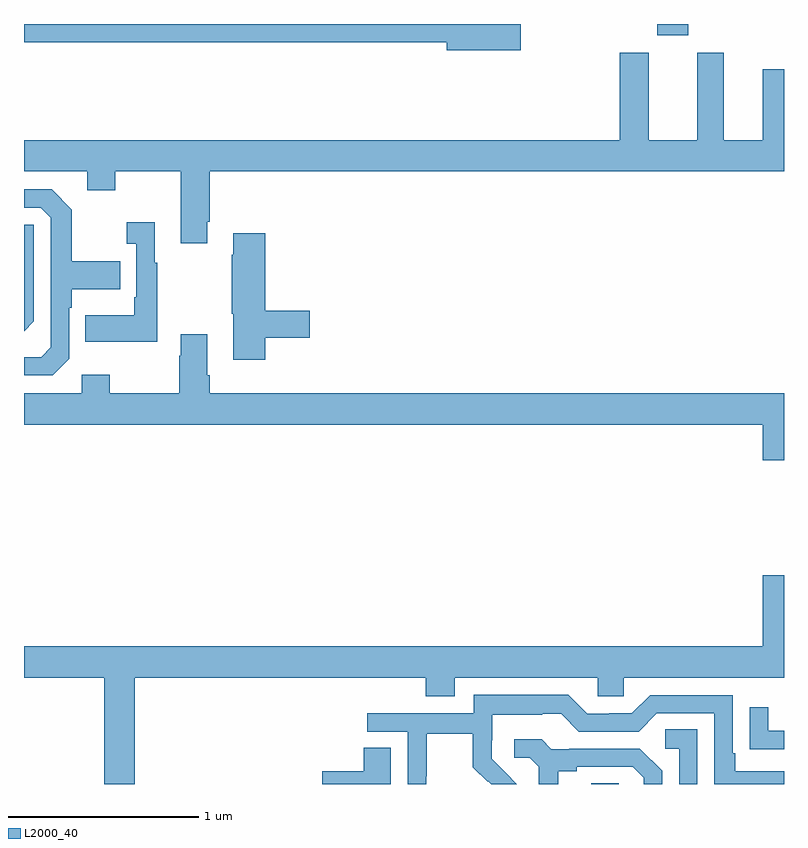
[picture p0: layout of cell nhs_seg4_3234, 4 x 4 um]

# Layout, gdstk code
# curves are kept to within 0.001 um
import gdstk
lib = gdstk.Library(unit=1e-6, precision=1e-09)
def R(c, l, rs):  # rectangles x0, y0, x1, y1
    for r in rs: c.add(gdstk.rectangle(r[:2], r[2:], *l))
def P(c, l, *ps):  # polygons
    for p in ps: c.add(gdstk.Polygon(p, *l))
L2000_40 = (2000, 40)

nhs_seg4_3234 = lib.new_cell('nhs_seg4_3234')
R(nhs_seg4_3234, L2000_40, [(283.985,822.9,284.13,822.905), (284.333,826.842,284.497,826.9)])
P(nhs_seg4_3234, L2000_40, [(283.615,826.9),(281,826.9),(281,826.804),(283.226,826.804),(283.226,826.762),(283.615,826.762)],
  [(281.965,825.859),(281.978,825.859),(281.978,826.124),(285,826.124),(285,826.663),(284.888,826.663),(284.888,826.288),(284.683,826.288),(284.683,826.75),(284.543,826.75),(284.543,826.288),(284.287,826.288),(284.287,826.75),(284.135,826.75),(284.135,826.288),(281,826.288),(281,826.124),(281.333,826.124),(281.333,826.025),(281.481,826.025),(281.481,826.124),(281.825,826.124),(281.825,825.747),(281.965,825.747)],
  [(281.238,825.138),(281.238,825.407),(281.251,825.407),(281.251,825.503),(281.507,825.503),(281.507,825.651),(281.251,825.651),(281.251,825.923),(281.145,826.029),(281,826.029),(281,825.933),(281.088,825.933),(281.142,825.879),(281.142,825.198),(281.091,825.147),(281,825.147),(281,825.051),(281.151,825.051)],
  [(281.701,825.643),(281.689,825.643),(281.689,825.856),(281.541,825.856),(281.541,825.743),(281.592,825.743),(281.592,825.463),(281.58,825.463),(281.58,825.367),(281.323,825.367),(281.323,825.227),(281.701,825.227)],
  [(281.052,825.336),(281.052,825.843),(281,825.843),(281,825.284)],
  [(282.269,825.25),(282.505,825.25),(282.505,825.392),(282.269,825.392),(282.269,825.799),(282.101,825.799),(282.101,825.686),(282.094,825.686),(282.094,825.375),(282.101,825.375),(282.101,825.132),(282.269,825.132)],
  [(285,824.956),(281.978,824.956),(281.978,825.052),(281.965,825.052),(281.965,825.268),(281.825,825.268),(281.825,825.155),(281.818,825.155),(281.818,824.956),(281.451,824.956),(281.451,825.055),(281.304,825.055),(281.304,824.956),(281,824.956),(281,824.792),(284.888,824.792),(284.888,824.604),(285,824.604)],
  [(281.582,823.46),(283.115,823.46),(283.115,823.361),(283.267,823.361),(283.267,823.46),(284.019,823.46),(284.019,823.362),(284.157,823.362),(284.157,823.46),(285,823.46),(285,823.999),(284.888,823.999),(284.888,823.624),(281,823.624),(281,823.46),(281.422,823.46),(281.422,822.9),(281.582,822.9)],
  [(283.116,822.94),(283.119,822.94),(283.119,823.164),(283.363,823.164),(283.363,822.989),(283.44,822.912),(283.443,822.915),(283.458,822.9),(283.594,822.9),(283.462,823.034),(283.462,823.131),(283.464,823.131),(283.464,823.265),(283.727,823.265),(283.727,823.269),(283.827,823.269),(283.92,823.176),(284.235,823.176),(284.331,823.272),(284.634,823.272),(284.634,822.9),(285,822.9),(285,822.966),(284.743,822.966),(284.743,823.063),(284.73,823.063),(284.73,823.368),(284.295,823.368),(284.199,823.272),(284.081,823.272),(284.081,823.269),(283.965,823.269),(283.865,823.369),(283.368,823.369),(283.368,823.272),(282.807,823.272),(282.807,823.176),(283.02,823.176),(283.02,822.9),(283.116,822.9)],
  [(285,823.179),(284.917,823.179),(284.917,823.303),(284.821,823.303),(284.821,823.084),(284.923,823.084),(284.923,823.083),(285,823.083)],
  [(284.544,823.187),(284.376,823.187),(284.376,823.086),(284.448,823.086),(284.448,822.9),(284.544,822.9)],
  [(283.813,822.968),(283.909,822.968),(283.909,822.99),(284.204,822.99),(284.261,822.933),(284.261,822.9),(284.358,822.9),(284.358,822.97),(284.242,823.086),(283.87,823.086),(283.87,823.083),(283.776,823.083),(283.724,823.135),(283.581,823.135),(283.581,823.038),(283.662,823.038),(283.709,822.991),(283.709,822.9),(283.813,822.9)],
  [(282.931,823.091),(282.788,823.091),(282.788,822.968),(282.57,822.968),(282.57,822.9),(282.931,822.9)])

lib.write_gds('nhs_seg4_3234.gds')
